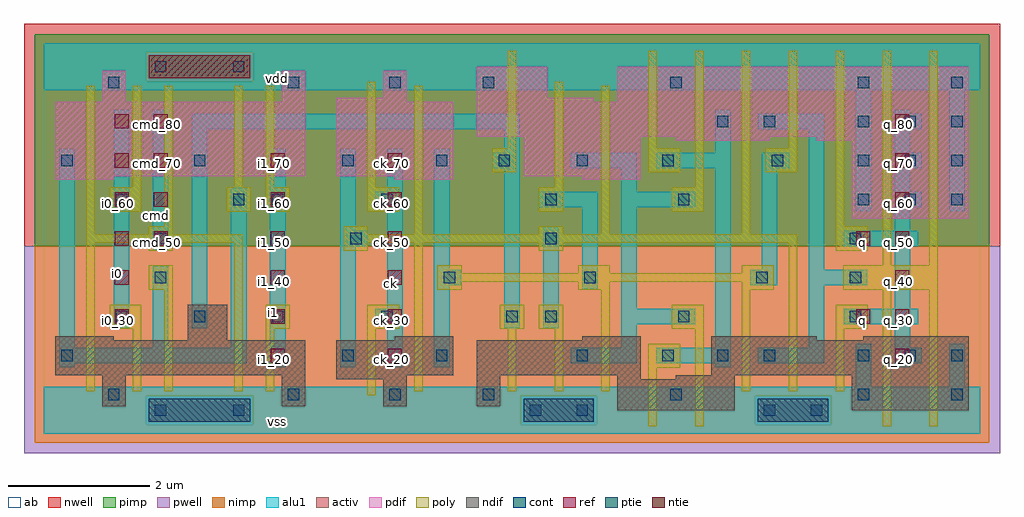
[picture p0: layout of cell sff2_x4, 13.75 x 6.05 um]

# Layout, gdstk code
import gdstk
lib = gdstk.Library(unit=1e-6, precision=2.5e-09)
def R(c, l, rs):  # rectangles x0, y0, x1, y1
    for r in rs: c.add(gdstk.rectangle(r[:2], r[2:], *l))
def A(c, l, x, y, w, h, nx, ny, dx, dy):  # array of equal rectangles
    R(c, l, [(x+i*dx, y+j*dy, x+i*dx+w, y+j*dy+h) for i in range(nx) for j in range(ny)])
ndif = (3, 0)
pdif = (4, 0)
ntie = (5, 0)
ptie = (6, 0)
ref = (24, 0)
cont = (25, 0)
pwell = (41, 0)
nwell = (42, 0)
activ = (43, 0)
pimp = (44, 0)
nimp = (45, 0)
poly = (46, 0)
alu1 = (49, 0)
ab = (63, 0)

sff2_x4 = lib.new_cell('sff2_x4')
R(sff2_x4, ndif, [(8.085,0.33,9.735,0.77), (11.385,0.33,13.035,0.825), (0.825,0.385,1.155,0.825), (3.355,0.385,3.685,0.825), (4.785,0.385,5.115,0.77), (6.105,0.385,6.435,0.825), (4.125,0.77,5.115,0.825), (8.085,0.77,8.415,0.825), (8.91,0.77,9.735,0.825), (0.165,0.825,3.685,1.32), (4.125,0.825,5.775,1.32), (6.105,0.825,8.415,1.32), (9.405,0.825,13.035,1.32), (0.165,1.32,0.99,1.375), (2.035,1.32,2.585,1.815), (4.95,1.32,5.775,1.375), (7.59,1.32,8.415,1.375), (9.405,1.32,10.89,1.375), (11.55,1.32,13.035,1.375)])
R(sff2_x4, pdif, [(11.385,3.025,13.035,4.125), (0.165,3.575,0.99,3.63), (4.95,3.575,5.775,3.63), (7.59,3.575,8.415,3.63), (0.165,3.63,3.685,4.675), (4.125,3.63,5.775,4.675), (6.765,3.63,8.415,4.18), (8.91,4.125,10.23,4.18), (10.89,4.125,13.035,4.18), (6.105,4.18,13.035,4.675), (0.825,4.675,1.155,5.115), (3.355,4.675,3.685,5.115), (4.125,4.675,5.115,4.73), (6.105,4.675,7.755,4.73), (8.085,4.675,13.035,5.17), (4.785,4.73,5.115,5.115), (6.105,4.73,7.095,5.17)])
R(sff2_x4, ntie, [(1.485,5.005,2.915,5.335)])
R(sff2_x4, ptie, [(1.485,0.165,2.915,0.495), (6.765,0.165,7.755,0.495), (10.065,0.165,11.055,0.495)])
A(sff2_x4, ref, 3.2, 1, 0.2, 0.2, 1, 3, 0, 0.55)
A(sff2_x4, ref, 4.85, 1, 0.2, 0.2, 1, 3, 0, 0.55)
A(sff2_x4, ref, 12, 1, 0.2, 0.2, 1, 7, 0, 0.55)
A(sff2_x4, ref, 1, 1.55, 0.2, 0.2, 1, 6, 0, 0.55)
A(sff2_x4, ref, 1.55, 2.65, 0.2, 0.2, 3, 3, 1.65, 0.55)
R(sff2_x4, ref, [(11.45,1.55,11.65,1.75), (11.45,2.65,11.65,2.85), (1.55,4.3,1.75,4.5)])
A(sff2_x4, cont, 6.19, 0.47, 0.16, 0.16, 3, 2, 2.64, 4.4)
A(sff2_x4, cont, 11.47, 1.02, 0.16, 0.16, 3, 2, 0.66, 2.2)
A(sff2_x4, cont, 1.02, 1.57, 0.16, 0.16, 3, 1, 1.1, 0)
A(sff2_x4, cont, 11.36, 1.57, 0.16, 0.16, 1, 3, 0, 0.55)
A(sff2_x4, cont, 1.57, 2.67, 0.16, 0.16, 3, 1, 2.75, 0)
A(sff2_x4, cont, 11.47, 3.77, 0.16, 0.16, 3, 2, 0.66, 0.55)
R(sff2_x4, cont, [(1.57,0.25,1.73,0.41), (2.67,0.25,2.83,0.41), (6.85,0.25,7.01,0.41), (7.51,0.25,7.67,0.41), (10.15,0.25,10.31,0.41), (10.81,0.25,10.97,0.41), (0.91,0.47,1.07,0.63), (3.44,0.47,3.6,0.63), (4.87,0.47,5.03,0.63), (12.79,0.47,12.95,0.63), (0.25,1.02,0.41,1.18), (4.21,1.02,4.37,1.18), (5.53,1.02,5.69,1.18), (7.51,1.02,7.67,1.18), (8.72,1.02,8.88,1.18), (9.49,1.02,9.65,1.18), (10.15,1.02,10.31,1.18), (4.76,1.57,4.92,1.73), (6.52,1.57,6.68,1.73), (7.07,1.57,7.23,1.73), (8.94,1.57,9.1,1.73), (1.57,2.12,1.73,2.28), (5.64,2.12,5.8,2.28), (7.62,2.12,7.78,2.28), (10.04,2.12,10.2,2.28), (1.02,3.22,1.18,3.38), (2.67,3.22,2.83,3.38), (3.22,3.22,3.38,3.38), (4.76,3.22,4.92,3.38), (7.07,3.22,7.23,3.38), (8.94,3.22,9.1,3.38), (0.25,3.77,0.41,3.93), (2.12,3.77,2.28,3.93), (4.21,3.77,4.37,3.93), (5.53,3.77,5.69,3.93), (6.41,3.77,6.57,3.93), (7.51,3.77,7.67,3.93), (8.72,3.77,8.88,3.93), (10.26,3.77,10.42,3.93), (9.49,4.32,9.65,4.48), (10.15,4.32,10.31,4.48), (0.91,4.87,1.07,5.03), (3.44,4.87,3.6,5.03), (4.87,4.87,5.03,5.03), (12.79,4.87,12.95,5.03), (1.57,5.09,1.73,5.25), (2.67,5.09,2.83,5.25)])
R(sff2_x4, pwell, [(-0.275,-0.275,13.475,2.64)])
R(sff2_x4, nwell, [(-0.275,2.64,13.475,5.775)])
R(sff2_x4, activ, [(1.485,0.165,2.915,0.495), (6.765,0.165,7.755,0.495), (10.065,0.165,11.055,0.495), (8.085,0.33,9.735,0.77), (11.385,0.33,13.035,0.825), (0.825,0.385,1.155,0.825), (3.355,0.385,3.685,0.825), (4.785,0.385,5.115,0.77), (6.105,0.385,6.435,0.825), (4.125,0.77,5.115,0.825), (8.085,0.77,8.415,0.825), (8.91,0.77,9.735,0.825), (0.165,0.825,3.685,1.32), (4.125,0.825,5.775,1.32), (6.105,0.825,8.415,1.32), (9.405,0.825,13.035,1.32), (0.165,1.32,0.99,1.375), (2.035,1.32,2.585,1.815), (4.95,1.32,5.775,1.375), (7.59,1.32,8.415,1.375), (9.405,1.32,10.89,1.375), (11.55,1.32,13.035,1.375), (11.385,3.025,13.035,4.125), (0.165,3.575,0.99,3.63), (4.95,3.575,5.775,3.63), (7.59,3.575,8.415,3.63), (0.165,3.63,3.685,4.675), (4.125,3.63,5.775,4.675), (6.765,3.63,8.415,4.18), (8.91,4.125,10.23,4.18), (10.89,4.125,13.035,4.18), (6.105,4.18,13.035,4.675), (0.825,4.675,1.155,5.115), (3.355,4.675,3.685,5.115), (4.125,4.675,5.115,4.73), (6.105,4.675,7.755,4.73), (8.085,4.675,13.035,5.17), (4.785,4.73,5.115,5.115), (6.105,4.73,7.095,5.17), (1.485,5.005,2.915,5.335)])
R(sff2_x4, pimp, [(1.445,0.125,2.955,0.535), (6.725,0.125,7.795,0.535), (10.025,0.125,11.095,0.535), (-0.125,2.64,13.325,4.965), (-0.125,4.965,1.445,5.375), (2.955,4.965,13.325,5.375), (-0.125,5.375,13.325,5.625)])
R(sff2_x4, nimp, [(-0.125,-0.125,13.325,0.125), (-0.125,0.125,1.445,0.535), (2.955,0.125,6.725,0.535), (7.795,0.125,10.025,0.535), (11.095,0.125,13.325,0.535), (-0.125,0.535,13.325,2.64), (1.445,4.965,2.955,5.375)])
A(sff2_x4, poly, 1.48, 2.58, 0.34, 0.11, 3, 2, 2.75, 0.23)
A(sff2_x4, poly, 6.54, 4.02, 0.12, 1.375, 3, 1, 1.98, 0)
R(sff2_x4, poly, [(8.52,0.105,8.64,0.93), (9.18,0.105,9.3,1.48), (11.82,0.105,11.94,2.03), (12.48,0.105,12.6,2.03), (4.56,0.545,4.68,1.48), (0.6,0.6,0.72,2.69), (1.26,0.6,1.38,1.48), (1.7,0.6,1.82,2.03), (2.69,0.6,2.81,2.69), (3.13,0.6,3.25,1.48), (5.22,0.6,5.34,2.69), (6.54,0.6,6.66,1.48), (7.2,0.6,7.32,1.48), (7.86,0.6,7.98,2.03), (9.84,0.6,9.96,2.03), (10.5,0.6,10.62,2.69), (11.16,0.6,11.28,1.48), (8.52,0.93,8.97,1.27), (0.93,1.48,1.38,1.82), (3.13,1.48,3.47,1.82), (4.56,1.48,5.01,1.82), (6.43,1.48,6.77,1.82), (6.98,1.48,7.32,1.82), (8.85,1.48,9.3,1.82), (11.16,1.48,11.61,1.82), (1.48,2.03,1.82,2.37), (5.55,2.03,5.89,2.14), (7.53,2.03,7.98,2.14), (9.84,2.03,10.29,2.14), (11.27,2.03,12.6,2.37), (5.55,2.14,10.29,2.26), (5.55,2.26,5.89,2.37), (7.53,2.26,7.98,2.37), (9.84,2.26,10.29,2.37), (11.82,2.37,11.94,5.395), (12.48,2.37,12.6,5.395), (11.16,2.58,11.61,2.92), (0.6,2.69,2.81,2.81), (4.23,2.69,10.62,2.81), (0.6,2.81,0.72,4.9), (5.22,2.81,5.34,4.9), (7.86,2.81,7.98,4.9), (9.84,2.81,9.96,5.395), (1.7,2.92,1.82,4.9), (11.16,2.92,11.28,5.395), (0.93,3.13,1.38,3.47), (2.58,3.13,2.92,3.47), (3.13,3.13,3.47,3.47), (4.56,3.13,5.01,3.47), (6.98,3.13,7.32,3.47), (8.85,3.13,9.3,3.47), (1.26,3.47,1.38,4.9), (2.69,3.47,2.81,4.9), (3.13,3.47,3.25,4.9), (4.56,3.47,4.68,4.955), (7.2,3.47,7.32,4.955), (9.18,3.47,9.3,5.395), (6.32,3.68,6.66,4.02), (8.52,3.68,8.97,4.02), (10.17,3.68,10.62,4.02)])
A(sff2_x4, alu1, 11.99, 2.86, 0.22, 0.33, 1, 3, 0, 0.55)
A(sff2_x4, alu1, 11.99, 3.19, 0.385, 0.22, 1, 3, 0, 0.55)
R(sff2_x4, alu1, [(0,0,13.2,0.66), (11.44,0.66,11.66,1.265), (12.76,0.66,12.98,1.265), (0.22,0.935,0.44,0.99), (3.19,0.935,3.41,4.015), (4.18,0.935,4.4,2.64), (4.84,0.935,5.06,1.54), (5.5,0.935,5.72,2.09), (9.46,0.935,9.68,0.99), (11.99,0.935,12.21,0.99), (0.22,0.99,2.86,1.21), (7.425,0.99,8.36,1.21), (8.635,0.99,9.68,1.21), (10.065,0.99,11,1.21), (11.99,0.99,12.375,1.21), (0.22,1.21,0.44,4.015), (1.54,1.21,1.76,2.365), (2.64,1.21,2.86,3.465), (8.14,1.21,8.36,1.54), (9.46,1.21,9.68,3.74), (10.78,1.21,11,2.09), (11.99,1.21,12.21,1.54), (0.99,1.485,1.21,4.565), (2.09,1.485,2.31,4.29), (6.49,1.485,6.71,3.74), (7.04,1.485,7.26,2.915), (4.675,1.54,5.06,1.76), (8.14,1.54,9.185,1.76), (11.275,1.54,12.32,1.76), (4.84,1.76,5.06,3.19), (8.14,1.76,8.36,3.19), (11.99,1.76,12.21,2.64), (7.59,2.035,7.81,3.19), (5.5,2.09,5.885,2.31), (9.955,2.09,10.34,2.31), (10.78,2.09,11.605,2.31), (5.5,2.31,5.72,4.015), (10.12,2.31,10.34,3.74), (10.78,2.31,11,4.29), (1.54,2.585,1.76,4.565), (4.18,2.64,4.565,2.86), (11.275,2.64,12.32,2.86), (4.18,2.86,4.4,4.015), (11.44,3.135,11.66,4.84), (12.76,3.135,12.98,4.84), (4.675,3.19,5.06,3.41), (6.985,3.19,7.81,3.41), (8.14,3.19,9.185,3.41), (4.84,3.41,5.06,4.015), (8.14,3.41,8.36,3.74), (6.325,3.74,6.71,3.96), (7.425,3.74,8.36,3.96), (8.635,3.74,9.68,3.96), (10.12,3.74,10.505,3.96), (6.49,3.96,6.71,4.29), (9.46,3.96,9.68,4.565), (2.09,4.29,6.71,4.51), (10.065,4.29,11,4.51), (11.99,4.51,12.21,4.565), (0,4.84,13.2,5.5)])
R(sff2_x4, ab, [(0,0,13.2,5.5)])
sff2_x4.add(gdstk.Label('vss', (3.3,0.165), layer=49, texttype=0))
sff2_x4.add(gdstk.Label('q', (11.535,1.595), layer=49, texttype=0))
sff2_x4.add(gdstk.Label('q', (11.535,2.695), layer=49, texttype=0))
sff2_x4.add(gdstk.Label('ck', (4.895,2.1175), layer=49, texttype=0))
sff2_x4.add(gdstk.Label('i1', (3.245,1.705), layer=49, texttype=0))
sff2_x4.add(gdstk.Label('cmd', (1.595,3.08), layer=49, texttype=0))
sff2_x4.add(gdstk.Label('i0', (1.045,2.255), layer=49, texttype=0))
sff2_x4.add(gdstk.Label('vdd', (3.3,5.005), layer=49, texttype=0))
sff2_x4.add(gdstk.Label('q_30', (11.5,1.6), layer=24, texttype=0))
sff2_x4.add(gdstk.Label('q_50', (11.5,2.7), layer=24, texttype=0))
sff2_x4.add(gdstk.Label('q_40', (12.05,2.15), layer=24, texttype=0))
sff2_x4.add(gdstk.Label('q_80', (12.05,4.35), layer=24, texttype=0))
sff2_x4.add(gdstk.Label('q_70', (12.05,3.8), layer=24, texttype=0))
sff2_x4.add(gdstk.Label('q_60', (12.05,3.25), layer=24, texttype=0))
sff2_x4.add(gdstk.Label('q_50', (12.05,2.7), layer=24, texttype=0))
sff2_x4.add(gdstk.Label('q_30', (12.05,1.6), layer=24, texttype=0))
sff2_x4.add(gdstk.Label('q_20', (12.05,1.05), layer=24, texttype=0))
sff2_x4.add(gdstk.Label('cmd_80', (1.6,4.35), layer=24, texttype=0))
sff2_x4.add(gdstk.Label('cmd_70', (1.6,3.8), layer=24, texttype=0))
sff2_x4.add(gdstk.Label('cmd_60', (1.6,3.25), layer=24, texttype=0))
sff2_x4.add(gdstk.Label('cmd_50', (1.6,2.7), layer=24, texttype=0))
sff2_x4.add(gdstk.Label('i1_70', (3.25,3.8), layer=24, texttype=0))
sff2_x4.add(gdstk.Label('i1_60', (3.25,3.25), layer=24, texttype=0))
sff2_x4.add(gdstk.Label('i1_50', (3.25,2.7), layer=24, texttype=0))
sff2_x4.add(gdstk.Label('i1_40', (3.25,2.15), layer=24, texttype=0))
sff2_x4.add(gdstk.Label('i1_30', (3.25,1.6), layer=24, texttype=0))
sff2_x4.add(gdstk.Label('i1_20', (3.25,1.05), layer=24, texttype=0))
sff2_x4.add(gdstk.Label('i0_80', (1.05,4.35), layer=24, texttype=0))
sff2_x4.add(gdstk.Label('i0_60', (1.05,3.25), layer=24, texttype=0))
sff2_x4.add(gdstk.Label('i0_70', (1.05,3.8), layer=24, texttype=0))
sff2_x4.add(gdstk.Label('i0_50', (1.05,2.7), layer=24, texttype=0))
sff2_x4.add(gdstk.Label('i0_40', (1.05,2.15), layer=24, texttype=0))
sff2_x4.add(gdstk.Label('i0_30', (1.05,1.6), layer=24, texttype=0))
sff2_x4.add(gdstk.Label('ck_30', (4.9,1.6), layer=24, texttype=0))
sff2_x4.add(gdstk.Label('ck_40', (4.9,2.15), layer=24, texttype=0))
sff2_x4.add(gdstk.Label('ck_50', (4.9,2.7), layer=24, texttype=0))
sff2_x4.add(gdstk.Label('ck_60', (4.9,3.25), layer=24, texttype=0))
sff2_x4.add(gdstk.Label('ck_70', (4.9,3.8), layer=24, texttype=0))
sff2_x4.add(gdstk.Label('ck_20', (4.9,1.05), layer=24, texttype=0))

lib.write_gds('sff2_x4.gds')
